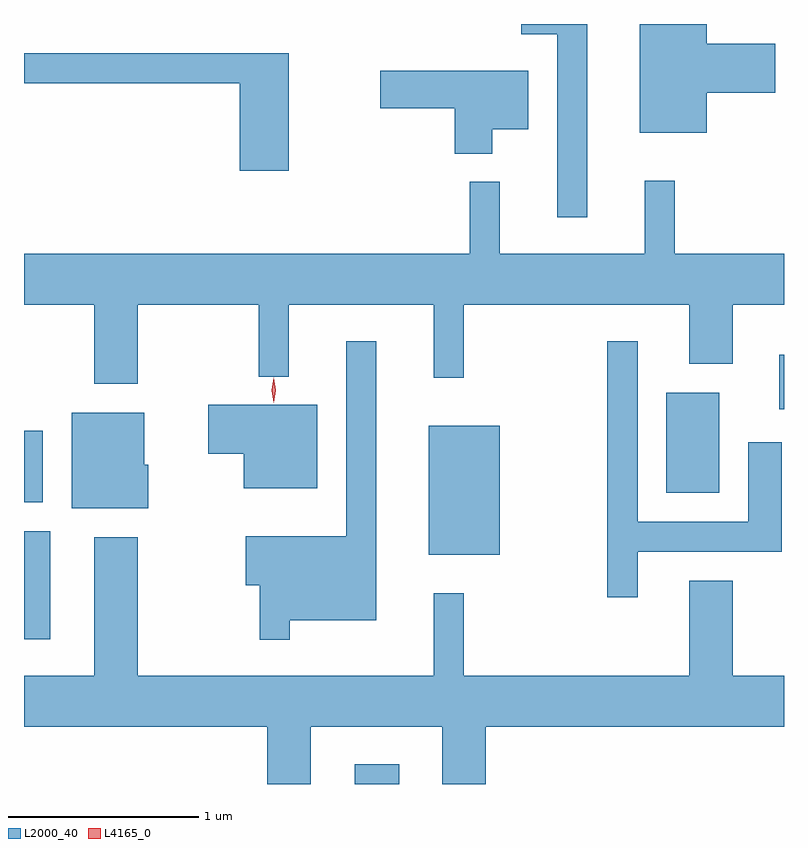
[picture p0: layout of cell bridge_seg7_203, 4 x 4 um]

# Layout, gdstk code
import gdstk
lib = gdstk.Library(unit=1e-6, precision=1e-09)
def R(c, l, rs):  # rectangles x0, y0, x1, y1
    for r in rs: c.add(gdstk.rectangle(r[:2], r[2:], *l))
def P(c, l, *ps):  # polygons
    for p in ps: c.add(gdstk.Polygon(p, *l))
L2000_40 = (2000, 40)
L4165_0 = (4165, 0)

bridge_seg7_203 = lib.new_cell('bridge_seg7_203')
R(bridge_seg7_203, L2000_40, [(1483.491,1669.614,1483.724,1669.719), (1481.75,1670.376,1481.889,1670.944), (1483.881,1670.821,1484.254,1671.499), (1481.75,1671.096,1481.849,1671.474), (1485.131,1671.146,1485.409,1671.674), (1485.726,1671.586,1485.75,1671.874)])
P(bridge_seg7_203, L2000_40, [(1484.714,1673.614),(1484.366,1673.614),(1484.366,1673.561),(1484.556,1673.561),(1484.556,1672.598),(1484.714,1672.598)],
  [(1485.344,1673.251),(1485.704,1673.251),(1485.704,1673.509),(1485.344,1673.509),(1485.344,1673.614),(1484.991,1673.614),(1484.991,1673.041),(1485.344,1673.041)],
  [(1483.144,1673.459),(1481.75,1673.459),(1481.75,1673.301),(1482.886,1673.301),(1482.886,1672.841),(1483.144,1672.841)],
  [(1484.214,1673.061),(1484.404,1673.061),(1484.404,1673.369),(1483.626,1673.369),(1483.626,1673.171),(1484.016,1673.171),(1484.016,1672.931),(1484.214,1672.931)],
  [(1482.349,1672.136),(1482.986,1672.136),(1482.986,1671.758),(1483.144,1671.758),(1483.144,1672.136),(1483.906,1672.136),(1483.906,1671.753),(1484.064,1671.753),(1484.064,1672.136),(1485.251,1672.136),(1485.251,1671.826),(1485.479,1671.826),(1485.479,1672.136),(1485.75,1672.136),(1485.75,1672.404),(1485.174,1672.404),(1485.174,1672.788),(1485.016,1672.788),(1485.016,1672.404),(1484.254,1672.404),(1484.254,1672.783),(1484.096,1672.783),(1484.096,1672.404),(1481.75,1672.404),(1481.75,1672.136),(1482.121,1672.136),(1482.121,1671.721),(1482.349,1671.721)],
  [(1484.979,1670.836),(1485.739,1670.836),(1485.739,1671.414),(1485.561,1671.414),(1485.561,1670.994),(1484.979,1670.994),(1484.979,1671.943),(1484.821,1671.943),(1484.821,1670.598),(1484.979,1670.598)],
  [(1483.149,1670.476),(1483.604,1670.476),(1483.604,1671.943),(1483.446,1671.943),(1483.446,1670.919),(1482.916,1670.919),(1482.916,1670.661),(1482.991,1670.661),(1482.991,1670.373),(1483.149,1670.373)],
  [(1483.294,1671.609),(1482.721,1671.609),(1482.721,1671.351),(1482.906,1671.351),(1482.906,1671.171),(1483.294,1671.171)],
  [(1482.404,1671.294),(1482.384,1671.294),(1482.384,1671.569),(1482.001,1671.569),(1482.001,1671.066),(1482.404,1671.066)],
  [(1483.259,1669.916),(1483.951,1669.916),(1483.951,1669.614),(1484.179,1669.614),(1484.179,1669.916),(1485.75,1669.916),(1485.75,1670.184),(1485.479,1670.184),(1485.479,1670.684),(1485.251,1670.684),(1485.251,1670.184),(1484.064,1670.184),(1484.064,1670.618),(1483.906,1670.618),(1483.906,1670.184),(1482.349,1670.184),(1482.349,1670.914),(1482.121,1670.914),(1482.121,1670.184),(1481.75,1670.184),(1481.75,1669.916),(1483.031,1669.916),(1483.031,1669.614),(1483.259,1669.614)])
P(bridge_seg7_203, L4165_0, [(1483.065,1671.62),(1483.064,1671.621),(1483.055,1671.686),(1483.064,1671.751),(1483.065,1671.751),(1483.065,1671.751),(1483.075,1671.686),(1483.065,1671.621)])

lib.write_gds('bridge_seg7_203.gds')
